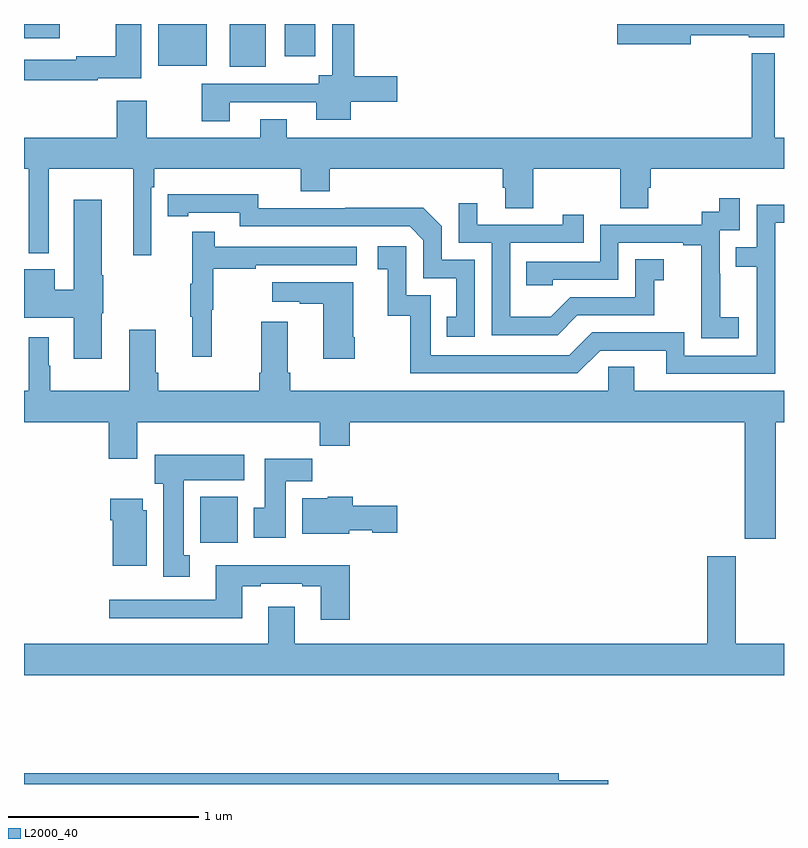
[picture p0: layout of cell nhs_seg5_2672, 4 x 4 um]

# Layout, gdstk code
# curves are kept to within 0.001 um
import gdstk
lib = gdstk.Library(unit=1e-6, precision=1e-09)
def R(c, l, rs):  # rectangles x0, y0, x1, y1
    for r in rs: c.add(gdstk.rectangle(r[:2], r[2:], *l))
def P(c, l, *ps):  # polygons
    for p in ps: c.add(gdstk.Polygon(p, *l))
L2000_40 = (2000, 40)

nhs_seg5_2672 = lib.new_cell('nhs_seg5_2672')
R(nhs_seg5_2672, L2000_40, [(265.928,912.068,266.125,912.31), (266.084,914.573,266.272,914.799), (265.706,914.579,265.963,914.799), (266.372,914.628,266.533,914.799), (265,914.723,265.189,914.799)])
P(nhs_seg5_2672, L2000_40, [(268.51,914.74),(268.814,914.74),(268.814,914.729),(269,914.729),(269,914.799),(268.122,914.799),(268.122,914.693),(268.51,914.693)],
  [(265.388,914.514),(265.618,914.514),(265.618,914.799),(265.484,914.799),(265.484,914.63),(265.276,914.63),(265.276,914.61),(265,914.61),(265,914.502),(265.388,914.502)],
  [(266.083,914.388),(266.537,914.388),(266.537,914.294),(266.719,914.294),(266.719,914.39),(266.965,914.39),(266.965,914.525),(266.738,914.525),(266.738,914.799),(266.622,914.799),(266.622,914.53),(266.552,914.53),(266.552,914.484),(265.936,914.484),(265.936,914.286),(266.083,914.286)],
  [(266.383,914.299),(266.243,914.299),(266.243,914.2),(265.647,914.2),(265.647,914.395),(265.487,914.395),(265.487,914.2),(265,914.2),(265,914.036),(265.025,914.036),(265.025,913.592),(265.129,913.592),(265.129,914.036),(265.574,914.036),(265.574,913.581),(265.671,913.581),(265.671,913.94),(265.685,913.94),(265.685,914.036),(266.456,914.036),(266.456,913.919),(266.609,913.919),(266.609,914.036),(267.521,914.036),(267.521,913.938),(267.533,913.938),(267.533,913.828),(267.681,913.828),(267.681,914.036),(268.138,914.036),(268.138,913.828),(268.285,913.828),(268.285,913.938),(268.298,913.938),(268.298,914.036),(269,914.036),(269,914.2),(268.951,914.2),(268.951,914.644),(268.83,914.644),(268.83,914.2),(266.383,914.2)],
  [(267.372,913.557),(267.198,913.557),(267.198,913.734),(267.1,913.832),(266.692,913.832),(266.692,913.83),(266.232,913.83),(266.232,913.903),(265.756,913.902),(265.756,913.786),(265.864,913.786),(265.864,913.806),(266.136,913.806),(266.136,913.734),(267.03,913.734),(267.102,913.662),(267.102,913.461),(267.275,913.461),(267.275,913.257),(267.226,913.257),(267.226,913.152),(267.372,913.152)],
  [(268.762,913.255),(268.664,913.255),(268.664,913.484),(268.662,913.484),(268.662,913.713),(268.767,913.713),(268.767,913.882),(268.659,913.882),(268.659,913.812),(268.566,913.812),(268.566,913.743),(268.032,913.743),(268.032,913.548),(267.643,913.548),(267.643,913.425),(267.783,913.425),(267.783,913.452),(268.128,913.452),(268.128,913.647),(268.469,913.647),(268.469,913.635),(268.565,913.635),(268.565,913.351),(268.564,913.351),(268.564,913.145),(268.762,913.145)],
  [(265.408,913.277),(265.416,913.277),(265.416,913.477),(265.408,913.477),(265.408,913.873),(265.262,913.873),(265.262,913.4),(265.162,913.4),(265.162,913.507),(265,913.507),(265,913.253),(265.262,913.253),(265.262,913.038),(265.408,913.038)],
  [(267.913,913.266),(268.317,913.266),(268.317,913.451),(268.366,913.451),(268.366,913.561),(268.218,913.561),(268.218,913.362),(267.876,913.362),(267.772,913.258),(267.558,913.258),(267.558,913.647),(267.947,913.647),(267.947,913.795),(267.836,913.795),(267.836,913.743),(267.385,913.743),(267.385,913.855),(267.288,913.855),(267.288,913.647),(267.462,913.647),(267.462,913.161),(267.808,913.161)],
  [(268.953,913.752),(269,913.752),(269,913.848),(268.857,913.848),(268.857,913.623),(268.747,913.623),(268.747,913.522),(268.857,913.522),(268.857,913.053),(268.476,913.053),(268.476,913.176),(267.99,913.176),(267.87,913.056),(267.141,913.056),(267.141,913.371),(267.012,913.371),(267.012,913.63),(266.862,913.63),(266.862,913.509),(266.915,913.509),(266.915,913.263),(267.033,913.263),(267.033,912.96),(267.912,912.96),(268.032,913.08),(268.379,913.08),(268.379,912.957),(268.953,912.957)],
  [(265.988,913.296),(265.996,913.296),(265.996,913.51),(266.219,913.51),(266.219,913.53),(266.752,913.53),(266.752,913.626),(266.003,913.626),(266.003,913.705),(265.886,913.705),(265.886,913.433),(265.875,913.433),(265.875,913.259),(265.886,913.259),(265.886,913.047),(265.988,913.047)],
  [(266.742,913.15),(266.734,913.15),(266.734,913.441),(266.307,913.441),(266.307,913.337),(266.45,913.337),(266.45,913.327),(266.576,913.327),(266.576,913.038),(266.742,913.038)],
  [(268.957,912.704),(269,912.704),(269,912.868),(268.213,912.868),(268.213,912.995),(268.074,912.995),(268.074,912.868),(266.402,912.868),(266.402,912.964),(266.389,912.964),(266.389,913.231),(266.249,913.231),(266.249,912.964),(266.237,912.964),(266.237,912.868),(265.706,912.868),(265.706,912.964),(265.693,912.964),(265.693,913.189),(265.553,913.189),(265.553,912.868),(265.139,912.868),(265.139,913.001),(265.129,913.001),(265.129,913.15),(265.025,913.15),(265.025,912.868),(265,912.868),(265,912.704),(265.445,912.704),(265.445,912.51),(265.597,912.51),(265.597,912.704),(266.557,912.704),(266.557,912.58),(266.714,912.58),(266.714,912.704),(268.793,912.704),(268.793,912.09),(268.957,912.09)],
  [(265.873,912.002),(265.84,912.002),(265.84,912.398),(266.158,912.398),(266.158,912.532),(265.688,912.532),(265.688,912.378),(265.733,912.378),(265.733,911.889),(265.873,911.889)],
  [(266.377,912.392),(266.516,912.392),(266.516,912.511),(266.267,912.511),(266.267,912.252),(266.21,912.252),(266.21,912.096),(266.377,912.096)],
  [(266.712,912.134),(266.832,912.134),(266.832,912.122),(266.965,912.122),(266.965,912.264),(266.729,912.264),(266.729,912.31),(266.598,912.31),(266.598,912.304),(266.465,912.304),(266.465,912.116),(266.712,912.116)],
  [(265.645,912.24),(265.624,912.24),(265.624,912.301),(265.454,912.301),(265.454,912.188),(265.466,912.188),(265.466,911.948),(265.645,911.948)],
  [(269,911.536),(268.747,911.536),(268.747,911.998),(268.595,911.998),(268.595,911.536),(266.425,911.536),(266.425,911.731),(266.285,911.731),(266.285,911.536),(265,911.536),(265,911.372),(269,911.372)],
  [(266.714,911.95),(266.009,911.95),(266.009,911.769),(265.449,911.769),(265.449,911.672),(266.149,911.672),(266.149,911.841),(266.245,911.841),(266.245,911.853),(266.465,911.853),(266.465,911.841),(266.561,911.841),(266.561,911.664),(266.714,911.664)],
  [(268.075,910.82),(267.814,910.82),(267.814,910.856),(265,910.856),(265,910.799),(268.075,910.799)])

lib.write_gds('nhs_seg5_2672.gds')
